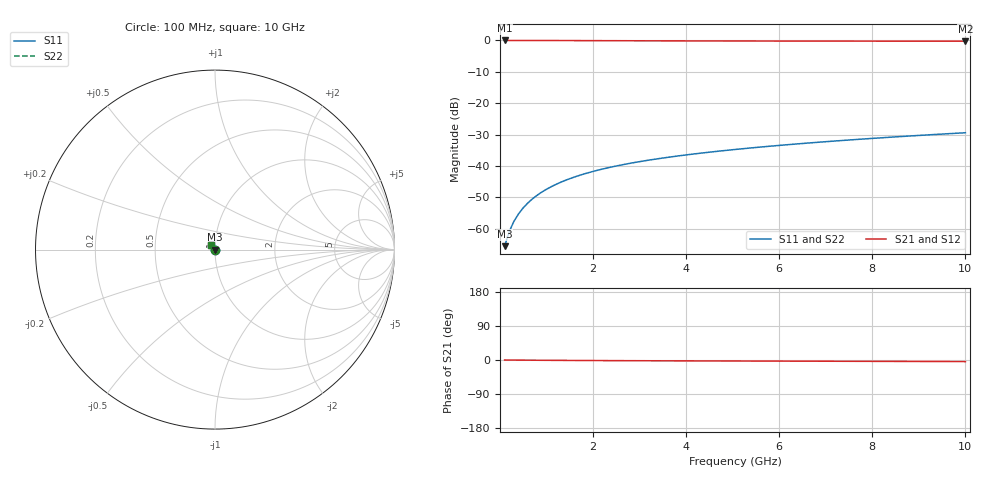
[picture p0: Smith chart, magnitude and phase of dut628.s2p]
! Touchstone file exported from HFSS 2024.1.0
!  File:  C:/UserFiles/LocalFiles/RDL_TSV_Batchsim/temp_TSV1_628_1779789878.aedt
!  Generated:  06:11:16 PM May 26, 2026
!  Design:  TSV1
!  Project:  temp_TSV1_628_1779789878
!  Setup:  Setup1
!  Solution:  Sweep
! Variables:
!  dtsv = 6um
!  hbump = 3um
!  htsv = 55.77um
!  lrdl = 252.1521522um
!  p = 40
!  p1 = 58.76um
!  t = 500um
!  trdl = 3um
!  wrdl = 24.89489489um
# GHz S MA R 50.000000
! Terminal data exported
! Port[1] = TSV22_T1
! Port[2] = TSV22_T2
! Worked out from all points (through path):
!   100 points, 100 MHz to 10 GHz, reference 50 ohm
!   highest |S21| = 0.00 dB at 100 MHz (marker M1); lowest = -0.2 dB at 10 GHz (marker M2)
!   lowest |S11| = -65.5 dB at 100 MHz (marker M3), VSWR 1.00, Z = 50 - j0.0439 ohm
!   |S11| at or under -10 dB: start of sweep to end of sweep
!   |S22| runs from -65.5 to -29.4 dB; largest |S21 - S12| = 1e-15
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0.1  0.0005279 -56.2  0.9997 -0.1  0.9997 -0.1  0.0005279 -56.2
! Gamma 0 0 0 0
! Port Impedance 50 0 50 0
0.2  0.0009036 -75.7  0.9996 -0.2  0.9996 -0.2  0.0009036 -75.7
0.3  0.001312 -85.2  0.9995 -0.2  0.9995 -0.2  0.001312 -85.2
0.4  0.001731 -91.6  0.9993 -0.3  0.9993 -0.3  0.001731 -91.6
0.5  0.002154 -96.5  0.9991 -0.4  0.9991 -0.4  0.002154 -96.5
0.6  0.002578 -100.7  0.9988 -0.5  0.9988 -0.5  0.002578 -100.7
0.7  0.003002 -104.4  0.9986 -0.6  0.9986 -0.6  0.003002 -104.4
0.8  0.003423 -107.9  0.9982 -0.6  0.9982 -0.6  0.003423 -107.9
0.9  0.003842 -111.2  0.9979 -0.7  0.9979 -0.7  0.003842 -111.2
1.1  0.00467 -117.3  0.9971 -0.9  0.9971 -0.9  0.00467 -117.3
1.4  0.005882 -125.8  0.9958 -1.1  0.9958 -1.1  0.005882 -125.8
1.6  0.006668 -131.1  0.9948 -1.2  0.9948 -1.2  0.006668 -131.1
1.8  0.007438 -136.2  0.9938 -1.3  0.9938 -1.3  0.007438 -136.2
2.1  0.00856 -143.4  0.9923 -1.5  0.9923 -1.5  0.00856 -143.4
2.5  0.01 -152.2  0.9903 -1.7  0.9903 -1.7  0.01 -152.2
2.9  0.01139 -160.2  0.9883 -1.9  0.9883 -1.9  0.01139 -160.2
3.4  0.01306 -169.3  0.9861 -2.1  0.9861 -2.1  0.01306 -169.3
4.2  0.01564 178.4  0.983 -2.4  0.983 -2.4  0.01564 178.4
5.1  0.01847 167.1  0.9803 -2.7  0.9803 -2.7  0.01847 167.1
6.7  0.02344 151.9  0.9769 -3.2  0.9769 -3.2  0.02344 151.9
8.4  0.02876 140.4  0.9745 -3.7  0.9745 -3.7  0.02876 140.4
10  0.03385 132.4  0.9729 -4.2  0.9729 -4.2  0.03385 132.4
